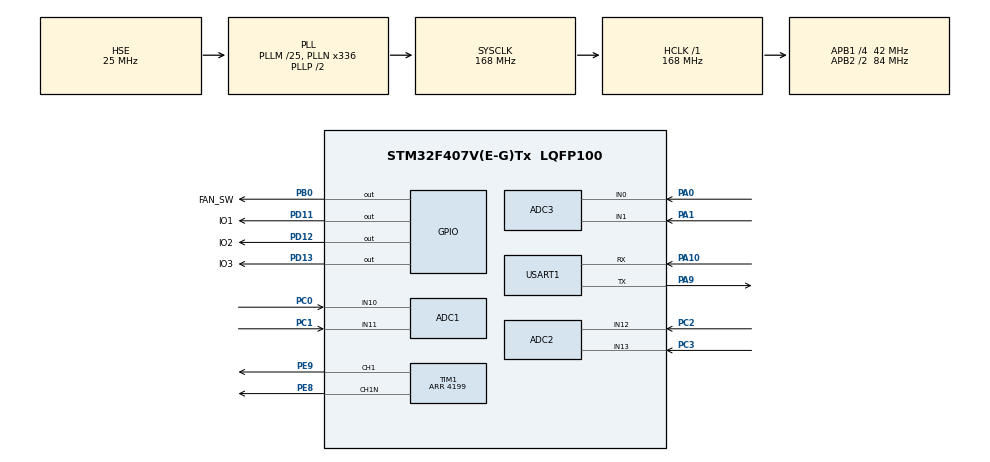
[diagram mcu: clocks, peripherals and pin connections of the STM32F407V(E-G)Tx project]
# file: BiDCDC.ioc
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ADC1.Channel-0\#ChannelRegularConversion=ADC_CHANNEL_10
ADC1.Channel-1\#ChannelRegularConversion=ADC_CHANNEL_11
ADC1.DMAContinuousRequests=ENABLE
ADC1.ExternalTrigConv=ADC_EXTERNALTRIGCONV_T3_TRGO
ADC1.NbrOfConversion=2
ADC1.NbrOfConversionFlag=1
ADC1.Rank-0\#ChannelRegularConversion=1
ADC1.Rank-1\#ChannelRegularConversion=2
ADC1.SamplingTime-0\#ChannelRegularConversion=ADC_SAMPLETIME_15CYCLES
ADC1.SamplingTime-1\#ChannelRegularConversion=ADC_SAMPLETIME_15CYCLES
ADC1.ScanConvMode=ENABLE
ADC1.master=1
ADC2.Channel-0\#ChannelRegularConversion=ADC_CHANNEL_12
ADC2.Channel-1\#ChannelRegularConversion=ADC_CHANNEL_13
ADC2.DMAContinuousRequests=ENABLE
ADC2.ExternalTrigConv=ADC_EXTERNALTRIGCONV_T3_TRGO
ADC2.NbrOfConversion=2
ADC2.NbrOfConversionFlag=1
ADC2.Rank-0\#ChannelRegularConversion=1
ADC2.Rank-1\#ChannelRegularConversion=2
ADC2.SamplingTime-0\#ChannelRegularConversion=ADC_SAMPLETIME_15CYCLES
ADC2.SamplingTime-1\#ChannelRegularConversion=ADC_SAMPLETIME_15CYCLES
ADC2.ScanConvMode=ENABLE
ADC3.Channel-0\#ChannelRegularConversion=ADC_CHANNEL_0
ADC3.Channel-1\#ChannelRegularConversion=ADC_CHANNEL_1
ADC3.DMAContinuousRequests=ENABLE
ADC3.ExternalTrigConv=ADC_EXTERNALTRIGCONV_T3_TRGO
ADC3.NbrOfConversion=2
ADC3.NbrOfConversionFlag=1
ADC3.Rank-0\#ChannelRegularConversion=1
ADC3.Rank-1\#ChannelRegularConversion=2
ADC3.SamplingTime-0\#ChannelRegularConversion=ADC_SAMPLETIME_15CYCLES
ADC3.SamplingTime-1\#ChannelRegularConversion=ADC_SAMPLETIME_15CYCLES
ADC3.ScanConvMode=ENABLE
Dma.ADC1.0.Direction=DMA_PERIPH_TO_MEMORY
Dma.ADC1.0.FIFOMode=DMA_FIFOMODE_DISABLE
Dma.ADC1.0.Instance=DMA2_Stream0
Dma.ADC1.0.MemDataAlignment=DMA_MDATAALIGN_HALFWORD
Dma.ADC1.0.MemInc=DMA_MINC_ENABLE
Dma.ADC1.0.Mode=DMA_CIRCULAR
Dma.ADC1.0.PeriphDataAlignment=DMA_PDATAALIGN_HALFWORD
Dma.ADC1.0.PeriphInc=DMA_PINC_DISABLE
Dma.ADC1.0.Priority=DMA_PRIORITY_HIGH
Dma.ADC2.1.Direction=DMA_PERIPH_TO_MEMORY
Dma.ADC2.1.FIFOMode=DMA_FIFOMODE_DISABLE
Dma.ADC2.1.Instance=DMA2_Stream2
Dma.ADC2.1.MemDataAlignment=DMA_MDATAALIGN_HALFWORD
Dma.ADC2.1.MemInc=DMA_MINC_ENABLE
Dma.ADC2.1.Mode=DMA_CIRCULAR
Dma.ADC2.1.PeriphDataAlignment=DMA_PDATAALIGN_HALFWORD
Dma.ADC2.1.PeriphInc=DMA_PINC_DISABLE
Dma.ADC2.1.Priority=DMA_PRIORITY_HIGH
Dma.ADC3.2.Direction=DMA_PERIPH_TO_MEMORY
Dma.ADC3.2.FIFOMode=DMA_FIFOMODE_DISABLE
Dma.ADC3.2.Instance=DMA2_Stream1
Dma.ADC3.2.MemDataAlignment=DMA_MDATAALIGN_HALFWORD
Dma.ADC3.2.MemInc=DMA_MINC_ENABLE
Dma.ADC3.2.Mode=DMA_CIRCULAR
Dma.ADC3.2.PeriphDataAlignment=DMA_PDATAALIGN_HALFWORD
Dma.ADC3.2.PeriphInc=DMA_PINC_DISABLE
Dma.ADC3.2.Priority=DMA_PRIORITY_HIGH
Dma.Request0=ADC1
Dma.Request1=ADC2
Dma.Request2=ADC3
Dma.Request3=USART1_RX
Dma.Request4=USART1_TX
Dma.USART1_RX.3.Direction=DMA_PERIPH_TO_MEMORY
Dma.USART1_RX.3.FIFOMode=DMA_FIFOMODE_DISABLE
Dma.USART1_RX.3.Instance=DMA2_Stream5
Dma.USART1_RX.3.MemDataAlignment=DMA_MDATAALIGN_BYTE
Dma.USART1_RX.3.MemInc=DMA_MINC_ENABLE
Dma.USART1_RX.3.Mode=DMA_CIRCULAR
Dma.USART1_RX.3.PeriphDataAlignment=DMA_PDATAALIGN_BYTE
Dma.USART1_RX.3.PeriphInc=DMA_PINC_DISABLE
Dma.USART1_RX.3.Priority=DMA_PRIORITY_LOW
Dma.USART1_TX.4.Direction=DMA_MEMORY_TO_PERIPH
Dma.USART1_TX.4.FIFOMode=DMA_FIFOMODE_DISABLE
Dma.USART1_TX.4.Instance=DMA2_Stream7
Dma.USART1_TX.4.MemDataAlignment=DMA_MDATAALIGN_BYTE
Dma.USART1_TX.4.MemInc=DMA_MINC_ENABLE
Dma.USART1_TX.4.Mode=DMA_NORMAL
Dma.USART1_TX.4.PeriphDataAlignment=DMA_PDATAALIGN_BYTE
Dma.USART1_TX.4.PeriphInc=DMA_PINC_DISABLE
Dma.USART1_TX.4.Priority=DMA_PRIORITY_LOW
Mcu.Family=STM32F4
Mcu.Name=STM32F407V(E-G)Tx
Mcu.Package=LQFP100
NVIC.PriorityGroup=NVIC_PRIORITYGROUP_4
NVIC.TIM1_UP_TIM10_IRQn=true\:0\:0\:false\:false\:true\:true\:true\:true
NVIC.USART1_IRQn=true\:1\:0\:true\:false\:true\:true\:true\:true
PA0-WKUP.Signal=ADCx_IN0
PA1.Signal=ADCx_IN1
PA10.Mode=Asynchronous
PA10.Signal=USART1_RX
PA9.Mode=Asynchronous
PA9.Signal=USART1_TX
PB0.GPIO_Label=FAN_SW
PB0.Signal=GPIO_Output
PC0.Signal=ADCx_IN10
PC1.Signal=ADCx_IN11
PC2.Signal=ADCx_IN12
PC3.Signal=ADCx_IN13
PD11.GPIO_Label=IO1
PD11.Signal=GPIO_Output
PD12.GPIO_Label=IO2
PD12.Signal=GPIO_Output
PD13.GPIO_Label=IO3
PD13.Signal=GPIO_Output
PE8.Mode=PWM Generation1 CH1 CH1N
PE8.Signal=TIM1_CH1N
PE9.Signal=S_TIM1_CH1
PH0-OSC_IN.Mode=HSE-External-Oscillator
PH0-OSC_IN.Signal=RCC_OSC_IN
PH1-OSC_OUT.Mode=HSE-External-Oscillator
PH1-OSC_OUT.Signal=RCC_OSC_OUT
ProjectManager.HeapSize=0x200
ProjectManager.StackSize=0x400
ProjectManager.TargetToolchain=MDK-ARM V5.32
RCC.48MHZClocksFreq_Value=84000000
RCC.AHBFreq_Value=168000000
RCC.APB1CLKDivider=RCC_HCLK_DIV4
RCC.APB1Freq_Value=42000000
RCC.APB1TimFreq_Value=84000000
RCC.APB2CLKDivider=RCC_HCLK_DIV2
RCC.APB2Freq_Value=84000000
RCC.APB2TimFreq_Value=168000000
RCC.CortexFreq_Value=168000000
RCC.HCLKFreq_Value=168000000
RCC.HSE_VALUE=25000000
RCC.HSI_VALUE=16000000
RCC.LSE_VALUE=32768
RCC.PLLM=25
RCC.PLLN=336
RCC.PLLSourceVirtual=RCC_PLLSOURCE_HSE
RCC.SYSCLKFreq_VALUE=168000000
RCC.SYSCLKSource=RCC_SYSCLKSOURCE_PLLCLK
RCC.VCOOutputFreq_Value=336000000
SH.ADCx_IN0.0=ADC3_IN0,IN0
SH.ADCx_IN1.0=ADC3_IN1,IN1
SH.ADCx_IN10.0=ADC1_IN10,IN10
SH.ADCx_IN11.0=ADC1_IN11,IN11
SH.ADCx_IN12.0=ADC2_IN12,IN12
SH.ADCx_IN13.0=ADC2_IN13,IN13
SH.S_TIM1_CH1.0=TIM1_CH1,PWM Generation1 CH1 CH1N
TIM1.AutoReloadPreload=TIM_AUTORELOAD_PRELOAD_ENABLE
TIM1.Channel-PWM\ Generation1\ CH1\ CH1N=TIM_CHANNEL_1
TIM1.CounterMode=TIM_COUNTERMODE_CENTERALIGNED3
TIM1.DeadTime=127
TIM1.Period=4199
TIM1.RepetitionCounter=1
TIM3.AutoReloadPreload=TIM_AUTORELOAD_PRELOAD_ENABLE
TIM3.Period=5-1
TIM3.Prescaler=42-1
TIM3.TIM_MasterOutputTrigger=TIM_TRGO_UPDATE
USART1.VirtualMode=VM_ASYNC
VP_TIM1_VS_ClockSourceINT.Mode=Internal
VP_TIM3_VS_ClockSourceINT.Mode=Internal
board=custom

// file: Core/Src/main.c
/* USER CODE BEGIN Header */
/**
  ******************************************************************************
  * @file           : main.c
  * @brief          : Main program body
  ******************************************************************************
  * @attention
  *
  * Copyright (c) 2025 STMicroelectronics.
  * All rights reserved.
  *
  * This software is licensed under terms that can be found in the LICENSE file
  * in the root directory of this software component.
  * If no LICENSE file comes with this software, it is provided AS-IS.
  *
  ******************************************************************************
  */
/* USER CODE END Header */
#include "main.h"
#include "adc.h"
#include "dma.h"
#include "tim.h"
#include "usart.h"
#include "gpio.h"

/* USER CODE BEGIN Includes */
#include "Control.h"
#include "Feedback.h"
#include <stdio.h>
#include "COMM.h"
/* USER CODE END Includes */

void SystemClock_Config(void);

int main(void)
{

  /* MCU Configuration--------------------------------------------------------*/

  /* Reset of all peripherals, Initializes the Flash interface and the Systick. */
  HAL_Init();

  /* Configure the system clock */
  SystemClock_Config();

  /* Initialize all configured peripherals */
  MX_GPIO_Init();
  MX_DMA_Init();
  MX_ADC1_Init();
  MX_ADC2_Init();
  MX_ADC3_Init();
  MX_TIM1_Init();
  MX_USART1_UART_Init();
  MX_TIM3_Init();
  /* USER CODE BEGIN 2 */
  ControlInit(); //控制边变量初始化
  PwmInit(); //PWM使能
  MeterInit(); //反馈初始化
  CommInit();
  //printf("System Init OK !!\n");
  /* USER CODE END 2 */

  /* Infinite loop */
  while(1)
  {
    /* USER CODE BEGIN 3 */
	 CommProcess(); //通信服务程序
  }
  /* USER CODE END 3 */
}

void SystemClock_Config(void)
{
  RCC_OscInitTypeDef RCC_OscInitStruct = {0};
  RCC_ClkInitTypeDef RCC_ClkInitStruct = {0};

  /** Configure the main internal regulator output voltage
  */
  __HAL_RCC_PWR_CLK_ENABLE();
  __HAL_PWR_VOLTAGESCALING_CONFIG(PWR_REGULATOR_VOLTAGE_SCALE1);

  /** Initializes the RCC Oscillators according to the specified parameters
  * in the RCC_OscInitTypeDef structure.
  */
  RCC_OscInitStruct.OscillatorType = RCC_OSCILLATORTYPE_HSE;
  RCC_OscInitStruct.HSEState = RCC_HSE_ON;
  RCC_OscInitStruct.PLL.PLLState = RCC_PLL_ON;
  RCC_OscInitStruct.PLL.PLLSource = RCC_PLLSOURCE_HSE;
  RCC_OscInitStruct.PLL.PLLM = 25;
  RCC_OscInitStruct.PLL.PLLN = 336;
  RCC_OscInitStruct.PLL.PLLP = RCC_PLLP_DIV2;
  RCC_OscInitStruct.PLL.PLLQ = 4;
  if (HAL_RCC_OscConfig(&RCC_OscInitStruct) != HAL_OK)
  {
    Error_Handler();
  }

  /** Initializes the CPU, AHB and APB buses clocks
  */
  RCC_ClkInitStruct.ClockType = RCC_CLOCKTYPE_HCLK|RCC_CLOCKTYPE_SYSCLK
                              |RCC_CLOCKTYPE_PCLK1|RCC_CLOCKTYPE_PCLK2;
  RCC_ClkInitStruct.SYSCLKSource = RCC_SYSCLKSOURCE_PLLCLK;
  RCC_ClkInitStruct.AHBCLKDivider = RCC_SYSCLK_DIV1;
  RCC_ClkInitStruct.APB1CLKDivider = RCC_HCLK_DIV4;
  RCC_ClkInitStruct.APB2CLKDivider = RCC_HCLK_DIV2;

  if (HAL_RCC_ClockConfig(&RCC_ClkInitStruct, FLASH_LATENCY_5) != HAL_OK)
  {
    Error_Handler();
  }
}

/* USER CODE BEGIN 4 */
/**
  * @brief  Period elapsed callback in non blocking mode
  * @note   This function is called  when TIM6 interrupt took place, inside
  * HAL_TIM_IRQHandler(). It makes a direct call to HAL_IncTick() to increment
  * a global variable "uwTick" used as application time base.
  * @param  htim : TIM handle
  * @retval None
  */
void HAL_TIM_PeriodElapsedCallback(TIM_HandleTypeDef *htim)
{
  /* USER CODE BEGIN Callback 0 */

  /* USER CODE END Callback 0 */
  if (htim->Instance == TIM6) {
    HAL_IncTick();
  }
  /* USER CODE BEGIN Callback 1 */
	if (htim->Instance == TIM1) {
	MeterUpdate(); //更新反馈
	StateMachine();//运行系统状态机
  }
  /* USER CODE END Callback 1 */
}

/* USER CODE END 4 */

void Error_Handler(void)
{
  __disable_irq();
  while (1)
  {
  }
}
